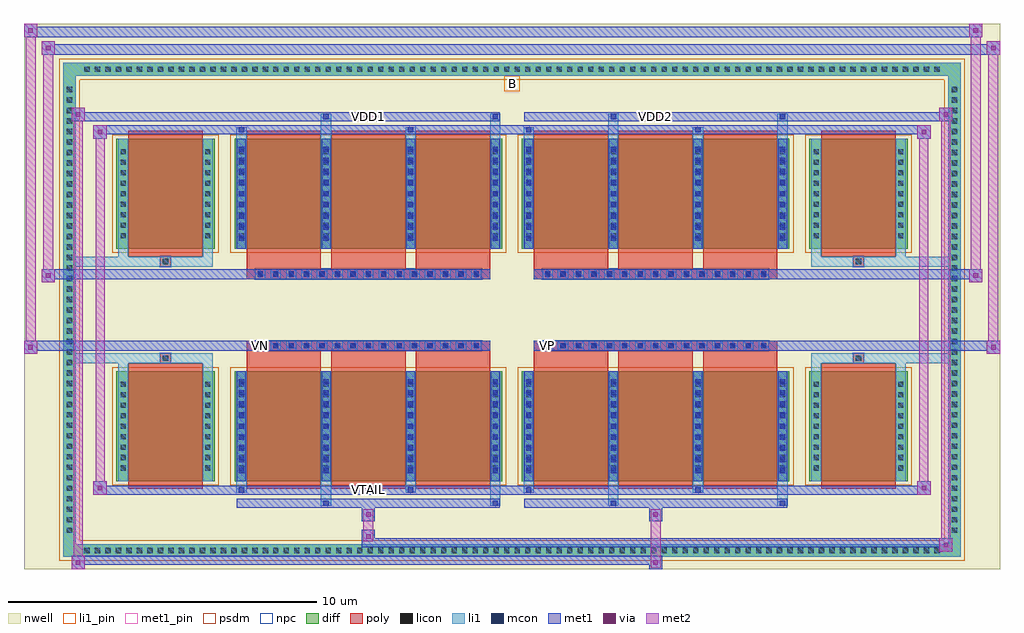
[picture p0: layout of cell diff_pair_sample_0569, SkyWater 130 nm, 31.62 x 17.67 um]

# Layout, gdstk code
import gdstk
lib = gdstk.Library(unit=1e-6, precision=5e-09)
def R(c, l, rs):  # rectangles x0, y0, x1, y1
    for r in rs: c.add(gdstk.rectangle(r[:2], r[2:], *l))
def A(c, l, x, y, w, h, nx, ny, dx, dy):  # array of equal rectangles
    R(c, l, [(x+i*dx, y+j*dy, x+i*dx+w, y+j*dy+h) for i in range(nx) for j in range(ny)])
def P(c, l, *ps):  # polygons
    for p in ps: c.add(gdstk.Polygon(p, *l))
nwell = (64, 20)
diff = (65, 20)
poly = (66, 20)
licon = (66, 44)
li1_pin = (67, 16)
li1 = (67, 20)
mcon = (67, 44)
met1_pin = (68, 16)
met1 = (68, 20)
via = (68, 44)
met2 = (69, 20)
psdm = (94, 20)
npc = (95, 20)

diff_pair_sample_0569 = lib.new_cell('diff_pair_sample_0569')
R(diff_pair_sample_0569, nwell, [(-15.81,-8.4,15.81,9.27), (-13.13,-6.59,-0.01,-0.795), (0.01,-6.59,13.13,-0.795), (-13.13,0.795,-0.01,6.59), (0.01,0.795,13.13,6.59)])
A(diff_pair_sample_0569, diff, -13.975, -8, 0.41, 0.41, 82, 2, 0.34, 15.59)
A(diff_pair_sample_0569, diff, -14.54, -7.345, 0.41, 0.41, 1, 43, 0, 0.34)
A(diff_pair_sample_0569, diff, 14.13, -7.345, 0.41, 0.41, 1, 43, 0, 0.34)
R(diff_pair_sample_0569, diff, [(-13.975,-8,13.975,-7.59), (-14.54,-7.345,-14.13,7.345), (14.13,-7.345,14.54,7.345), (-12.82,-5.545,-9.63,-1.985), (-8.99,-5.545,-0.32,-1.985), (0.32,-5.545,8.99,-1.985), (9.63,-5.545,12.82,-1.985), (-12.82,1.985,-9.63,5.545), (-8.99,1.985,-0.32,5.545), (0.32,1.985,8.99,5.545), (9.63,1.985,12.82,5.545), (-13.975,7.59,13.975,8)])
P(diff_pair_sample_0569, diff, [(14.54,8),(-14.54,8),(-14.54,-7.59),(-14.13,-7.59),(-14.13,7.59),(14.13,7.59),(14.13,-7.59),(-14.13,-7.59),(-14.54,-7.59),(-14.54,-8),(14.54,-8)])
A(diff_pair_sample_0569, poly, -8.6, -5.8, 2.41, 4.07, 3, 2, 2.74, 7.53)
A(diff_pair_sample_0569, poly, 0.71, -5.8, 2.41, 4.07, 3, 2, 2.74, 7.53)
A(diff_pair_sample_0569, poly, -8.6, -1.73, 2.41, 0.405, 3, 2, 2.74, 3.055)
A(diff_pair_sample_0569, poly, 0.71, -1.73, 2.41, 0.405, 3, 2, 2.74, 3.055)
A(diff_pair_sample_0569, poly, -8.32, -1.325, 0.33, 0.33, 15, 2, 0.5, 2.32)
A(diff_pair_sample_0569, poly, 0.99, -1.325, 0.33, 0.33, 15, 2, 0.5, 2.32)
R(diff_pair_sample_0569, poly, [(-12.43,-5.8,-10.02,-1.73), (10.02,-5.8,12.43,-1.73), (-11.39,-1.73,-11.06,-1.4), (-11.39,-1.73,-11.06,-1.4), (11.06,-1.73,11.39,-1.4), (11.06,-1.73,11.39,-1.4), (-8.6,-1.325,-0.71,-0.995), (0.71,-1.325,8.6,-0.995), (-8.6,0.995,-0.71,1.325), (0.71,0.995,8.6,1.325), (-11.39,1.4,-11.06,1.73), (-11.39,1.4,-11.06,1.73), (11.06,1.4,11.39,1.73), (11.06,1.4,11.39,1.73), (-12.43,1.73,-10.02,5.8), (10.02,1.73,12.43,5.8)])
A(diff_pair_sample_0569, licon, -13.855, -7.88, 0.17, 0.17, 82, 2, 0.34, 15.59)
A(diff_pair_sample_0569, licon, -14.42, -7.225, 0.17, 0.17, 1, 43, 0, 0.34)
A(diff_pair_sample_0569, licon, 14.25, -7.225, 0.17, 0.17, 1, 43, 0, 0.34)
A(diff_pair_sample_0569, licon, -12.68, -5.21, 0.17, 0.17, 1, 9, 0, 0.34)
A(diff_pair_sample_0569, licon, -9.94, -5.21, 0.17, 0.17, 1, 9, 0, 0.34)
A(diff_pair_sample_0569, licon, -8.85, -5.21, 0.17, 0.17, 4, 9, 2.74, 0.34)
A(diff_pair_sample_0569, licon, 0.46, -5.21, 0.17, 0.17, 4, 9, 2.74, 0.34)
A(diff_pair_sample_0569, licon, 9.77, -5.21, 0.17, 0.17, 1, 9, 0, 0.34)
A(diff_pair_sample_0569, licon, 12.51, -5.21, 0.17, 0.17, 1, 9, 0, 0.34)
A(diff_pair_sample_0569, licon, -8.24, -1.245, 0.17, 0.17, 15, 2, 0.5, 2.32)
A(diff_pair_sample_0569, licon, 1.07, -1.245, 0.17, 0.17, 15, 2, 0.5, 2.32)
A(diff_pair_sample_0569, licon, -12.68, 2.32, 0.17, 0.17, 1, 9, 0, 0.34)
A(diff_pair_sample_0569, licon, -9.94, 2.32, 0.17, 0.17, 1, 9, 0, 0.34)
A(diff_pair_sample_0569, licon, -8.85, 2.32, 0.17, 0.17, 4, 9, 2.74, 0.34)
A(diff_pair_sample_0569, licon, 0.46, 2.32, 0.17, 0.17, 4, 9, 2.74, 0.34)
A(diff_pair_sample_0569, licon, 9.77, 2.32, 0.17, 0.17, 1, 9, 0, 0.34)
A(diff_pair_sample_0569, licon, 12.51, 2.32, 0.17, 0.17, 1, 9, 0, 0.34)
R(diff_pair_sample_0569, licon, [(-11.31,-1.65,-11.14,-1.48), (11.14,-1.65,11.31,-1.48), (-11.31,1.48,-11.14,1.65), (11.14,1.48,11.31,1.65)])
R(diff_pair_sample_0569, li1_pin, [(-0.25,7.09,0.25,7.59)])
A(diff_pair_sample_0569, li1, -13.935, -7.96, 0.33, 0.33, 82, 2, 0.34, 15.59)
A(diff_pair_sample_0569, li1, -14.5, -7.305, 0.33, 0.33, 1, 43, 0, 0.34)
A(diff_pair_sample_0569, li1, 14.17, -7.305, 0.33, 0.33, 1, 43, 0, 0.34)
A(diff_pair_sample_0569, li1, -8.93, -5.545, 0.33, 3.56, 4, 2, 2.74, 7.53)
A(diff_pair_sample_0569, li1, 0.38, -5.545, 0.33, 3.56, 4, 2, 2.74, 7.53)
A(diff_pair_sample_0569, li1, -12.76, -5.29, 0.33, 0.33, 1, 9, 0, 0.34)
A(diff_pair_sample_0569, li1, -10.02, -5.29, 0.33, 0.33, 1, 9, 0, 0.34)
A(diff_pair_sample_0569, li1, -8.93, -5.29, 0.33, 0.33, 4, 9, 2.74, 0.34)
A(diff_pair_sample_0569, li1, -8.85, -5.29, 0.17, 0.17, 4, 9, 2.74, 0.36)
A(diff_pair_sample_0569, li1, -8.85, -5.29, 0.17, 3.05, 4, 2, 2.74, 7.53)
A(diff_pair_sample_0569, li1, 0.38, -5.29, 0.33, 0.33, 4, 9, 2.74, 0.34)
A(diff_pair_sample_0569, li1, 0.46, -5.29, 0.17, 0.17, 4, 9, 2.74, 0.36)
A(diff_pair_sample_0569, li1, 0.46, -5.29, 0.17, 3.05, 4, 2, 2.74, 7.53)
A(diff_pair_sample_0569, li1, 9.69, -5.29, 0.33, 0.33, 1, 9, 0, 0.34)
A(diff_pair_sample_0569, li1, 12.43, -5.29, 0.33, 0.33, 1, 9, 0, 0.34)
A(diff_pair_sample_0569, li1, -8.32, -1.325, 0.33, 0.33, 15, 2, 0.5, 2.32)
A(diff_pair_sample_0569, li1, 0.99, -1.325, 0.33, 0.33, 15, 2, 0.5, 2.32)
A(diff_pair_sample_0569, li1, -12.76, 2.24, 0.33, 0.33, 1, 9, 0, 0.34)
A(diff_pair_sample_0569, li1, -10.02, 2.24, 0.33, 0.33, 1, 9, 0, 0.34)
A(diff_pair_sample_0569, li1, -8.93, 2.24, 0.33, 0.33, 4, 9, 2.74, 0.34)
A(diff_pair_sample_0569, li1, -8.85, 2.24, 0.17, 0.17, 4, 9, 2.74, 0.36)
A(diff_pair_sample_0569, li1, 0.38, 2.24, 0.33, 0.33, 4, 9, 2.74, 0.34)
A(diff_pair_sample_0569, li1, 0.46, 2.24, 0.17, 0.17, 4, 9, 2.74, 0.36)
A(diff_pair_sample_0569, li1, 9.69, 2.24, 0.33, 0.33, 1, 9, 0, 0.34)
A(diff_pair_sample_0569, li1, 12.43, 2.24, 0.33, 0.33, 1, 9, 0, 0.34)
R(diff_pair_sample_0569, li1, [(-14.54,-8,-14.13,-7.59), (-14.54,-8,-14.13,-7.59), (-14.13,-8,14.13,-7.59), (14.13,-8,14.54,-7.59), (14.13,-8,14.54,-7.59), (-14.54,-7.59,-14.13,7.59), (14.13,-7.59,14.54,7.59), (-6.19,-6.35,-5.86,-5.545), (-6.11,-6.35,-5.94,-6.18), (-0.71,-6.35,-0.38,-5.545), (-0.63,-6.35,-0.46,-6.18), (3.12,-6.35,3.45,-5.545), (3.2,-6.35,3.37,-6.18), (8.6,-6.35,8.93,-5.545), (8.68,-6.35,8.85,-6.18), (-8.93,-5.92,-8.6,-5.545), (-8.85,-5.92,-8.68,-5.75), (-3.45,-5.92,-3.12,-5.545), (-3.37,-5.92,-3.2,-5.75), (0.38,-5.92,0.71,-5.545), (0.46,-5.92,0.63,-5.75), (5.86,-5.92,6.19,-5.545), (5.94,-5.92,6.11,-5.75), (-12.76,-5.545,-12.43,-1.985), (-10.02,-5.545,-9.69,-1.985), (9.69,-5.545,10.02,-1.985), (12.43,-5.545,12.76,-1.985), (-12.76,-1.985,-12.43,-1.4), (-10.02,-1.985,-9.69,-1.4), (9.69,-1.985,10.02,-1.4), (12.43,-1.985,12.76,-1.4), (-14.54,-1.73,-11.39,-1.4), (-12.76,-1.73,-11.39,-1.4), (-11.39,-1.73,-11.06,-1.4), (-11.06,-1.73,-9.69,-1.4), (9.69,-1.73,11.06,-1.4), (11.06,-1.73,11.39,-1.4), (11.06,-1.73,14.54,-1.4), (11.39,-1.73,12.76,-1.4), (-14.54,1.4,-11.39,1.73), (-12.76,1.4,-11.39,1.73), (-12.76,1.4,-12.43,1.985), (-11.39,1.4,-11.06,1.73), (-11.06,1.4,-9.69,1.73), (-10.02,1.4,-9.69,1.985), (9.69,1.4,11.06,1.73), (9.69,1.4,10.02,1.985), (11.06,1.4,11.39,1.73), (11.06,1.4,14.54,1.73), (11.39,1.4,12.76,1.73), (12.43,1.4,12.76,1.985), (-12.76,1.985,-12.43,5.545), (-10.02,1.985,-9.69,5.545), (9.69,1.985,10.02,5.545), (12.43,1.985,12.76,5.545), (-8.93,5.545,-8.6,5.92), (-6.19,5.545,-5.86,6.35), (-3.45,5.545,-3.12,5.92), (-0.71,5.545,-0.38,6.35), (0.38,5.545,0.71,5.92), (3.12,5.545,3.45,6.35), (5.86,5.545,6.19,5.92), (8.6,5.545,8.93,6.35), (-8.85,5.75,-8.68,5.92), (-3.37,5.75,-3.2,5.92), (0.46,5.75,0.63,5.92), (5.94,5.75,6.11,5.92), (-6.11,6.18,-5.94,6.35), (-0.63,6.18,-0.46,6.35), (3.2,6.18,3.37,6.35), (8.68,6.18,8.85,6.35), (-14.54,7.59,-14.13,8), (-14.54,7.59,-14.13,8), (-14.13,7.59,14.13,8), (14.13,7.59,14.54,8), (14.13,7.59,14.54,8)])
A(diff_pair_sample_0569, mcon, -8.85, -5.29, 0.17, 0.17, 4, 9, 2.74, 0.36)
A(diff_pair_sample_0569, mcon, 0.46, -5.29, 0.17, 0.17, 4, 9, 2.74, 0.36)
A(diff_pair_sample_0569, mcon, -8.24, -1.245, 0.17, 0.17, 15, 2, 0.5, 2.32)
A(diff_pair_sample_0569, mcon, 1.07, -1.245, 0.17, 0.17, 15, 2, 0.5, 2.32)
A(diff_pair_sample_0569, mcon, -8.85, 2.24, 0.17, 0.17, 4, 9, 2.74, 0.36)
A(diff_pair_sample_0569, mcon, 0.46, 2.24, 0.17, 0.17, 4, 9, 2.74, 0.36)
R(diff_pair_sample_0569, mcon, [(-6.11,-6.35,-5.94,-6.18), (-0.63,-6.35,-0.46,-6.18), (3.2,-6.35,3.37,-6.18), (8.68,-6.35,8.85,-6.18), (-8.85,-5.92,-8.68,-5.75), (-3.37,-5.92,-3.2,-5.75), (0.46,-5.92,0.63,-5.75), (5.94,-5.92,6.11,-5.75), (-8.85,5.75,-8.68,5.92), (-3.37,5.75,-3.2,5.92), (0.46,5.75,0.63,5.92), (5.94,5.75,6.11,5.92), (-6.11,6.18,-5.94,6.35), (-0.63,6.18,-0.46,6.35), (3.2,6.18,3.37,6.35), (8.68,6.18,8.85,6.35)])
R(diff_pair_sample_0569, met1_pin, [(-4.79,-5.96,-4.52,-5.69), (-8.29,-1.285,-8.02,-1.015), (1.02,-1.285,1.29,-1.015), (-4.79,6.14,-4.52,6.41), (4.52,6.14,4.79,6.41)])
A(diff_pair_sample_0569, met1, -8.91, -5.545, 0.29, 3.56, 4, 2, 2.74, 7.53)
A(diff_pair_sample_0569, met1, 0.4, -5.545, 0.29, 3.56, 4, 2, 2.74, 7.53)
A(diff_pair_sample_0569, met1, -8.91, -5.35, 0.29, 0.29, 4, 9, 2.74, 0.36)
A(diff_pair_sample_0569, met1, 0.4, -5.35, 0.29, 0.29, 4, 9, 2.74, 0.36)
A(diff_pair_sample_0569, met1, -8.3, -1.305, 0.29, 0.29, 15, 2, 0.5, 2.32)
A(diff_pair_sample_0569, met1, 1.01, -1.305, 0.29, 0.29, 15, 2, 0.5, 2.32)
A(diff_pair_sample_0569, met1, -8.91, 2.18, 0.29, 0.29, 4, 9, 2.74, 0.36)
A(diff_pair_sample_0569, met1, 0.4, 2.18, 0.29, 0.29, 4, 9, 2.74, 0.36)
R(diff_pair_sample_0569, met1, [(-14.27,-8.4,-13.84,-7.97), (4.44,-8.4,4.87,-7.97), (-14.27,-8.26,4.87,-7.97), (13.84,-7.83,14.27,-7.4), (-4.87,-7.69,14.27,-7.4), (-4.87,-7.55,-4.44,-7.12), (-4.87,-6.84,-4.44,-6.41), (4.44,-6.84,4.87,-6.41), (-8.91,-6.41,-0.4,-6.12), (-6.17,-6.41,-5.88,-6.12), (-0.69,-6.41,-0.4,-6.12), (0.4,-6.41,8.91,-6.12), (3.14,-6.41,3.43,-6.12), (8.62,-6.41,8.91,-6.12), (-13.56,-5.98,-13.13,-5.55), (-13.56,-5.98,-8.91,-5.69), (-8.91,-5.98,-8.62,-5.69), (-8.91,-5.98,-0.4,-5.69), (-3.43,-5.98,-3.14,-5.69), (-0.4,-5.98,0.4,-5.69), (0.4,-5.98,0.69,-5.69), (0.4,-5.98,8.91,-5.69), (5.88,-5.98,6.17,-5.69), (8.91,-5.98,13.56,-5.69), (13.13,-5.98,13.56,-5.55), (-15.81,-1.425,-15.38,-0.995), (15.38,-1.425,15.81,-0.995), (-15.81,-1.325,-0.71,-0.995), (-8.6,-1.325,-0.71,-0.995), (0.71,-1.325,8.6,-0.995), (0.71,-1.325,15.81,-0.995), (-15.24,0.895,-14.81,1.325), (14.81,0.895,15.24,1.325), (-15.24,0.995,-8.6,1.325), (-8.6,0.995,-0.71,1.325), (0.71,0.995,8.6,1.325), (8.6,0.995,15.24,1.325), (-13.56,5.55,-13.13,5.98), (13.13,5.55,13.56,5.98), (-13.56,5.69,-8.91,5.98), (-8.91,5.69,-8.62,5.98), (-8.91,5.69,-0.4,5.98), (-3.43,5.69,-3.14,5.98), (-0.4,5.69,0.4,5.98), (0.4,5.69,0.69,5.98), (0.4,5.69,8.91,5.98), (5.88,5.69,6.17,5.98), (8.91,5.69,13.56,5.98), (-14.27,6.12,-13.84,6.55), (-14.27,6.12,-8.91,6.41), (-8.91,6.12,-0.4,6.41), (-6.17,6.12,-5.88,6.41), (-0.69,6.12,-0.4,6.41), (0.4,6.12,8.91,6.41), (3.14,6.12,3.43,6.41), (8.62,6.12,8.91,6.41), (8.91,6.12,14.27,6.41), (13.84,6.12,14.27,6.55), (-15.24,8.27,-14.81,8.7), (-15.24,8.27,-13.13,8.6), (-13.13,8.27,13.13,8.6), (13.13,8.27,15.81,8.6), (15.38,8.27,15.81,8.7), (-15.81,8.84,-15.38,9.27), (-15.81,8.84,-13.13,9.17), (-13.13,8.84,13.13,9.17), (13.13,8.84,15.24,9.17), (14.81,8.84,15.24,9.27)])
R(diff_pair_sample_0569, via, [(-14.13,-8.26,-13.98,-8.11), (4.58,-8.26,4.73,-8.11), (13.98,-7.69,14.13,-7.54), (-4.73,-7.41,-4.58,-7.26), (-4.73,-6.7,-4.58,-6.55), (4.58,-6.7,4.73,-6.55), (-13.42,-5.84,-13.27,-5.69), (13.27,-5.84,13.42,-5.69), (-15.67,-1.285,-15.52,-1.135), (15.52,-1.285,15.67,-1.135), (-15.1,1.035,-14.95,1.185), (14.95,1.035,15.1,1.185), (-13.42,5.69,-13.27,5.84), (13.27,5.69,13.42,5.84), (-14.13,6.26,-13.98,6.41), (13.98,6.26,14.13,6.41), (-15.1,8.41,-14.95,8.56), (15.52,8.41,15.67,8.56), (-15.67,8.98,-15.52,9.13), (14.95,8.98,15.1,9.13)])
R(diff_pair_sample_0569, met2, [(-14.27,-8.4,-13.84,-7.97), (-14.2,-8.4,-13.91,6.55), (-13.91,-8.4,-13.84,-7.97), (-14.22,-8.35,-13.89,-8.02), (4.49,-8.35,4.82,-8.02), (4.49,-8.02,4.82,-6.79), (13.84,-7.83,14.27,-7.4), (13.91,-7.83,14.2,6.55), (14.2,-7.83,14.27,-7.4), (13.89,-7.78,14.22,-7.45), (-4.82,-7.5,-4.49,-7.17), (-4.82,-7.17,-4.49,-6.79), (-4.82,-6.79,-4.49,-6.46), (4.49,-6.79,4.82,-6.46), (-13.56,-5.98,-13.13,-5.55), (-13.49,-5.98,-13.2,5.98), (-13.2,-5.98,-13.13,-5.55), (13.13,-5.98,13.56,-5.55), (13.2,-5.98,13.49,5.98), (13.49,-5.98,13.56,-5.55), (-13.51,-5.93,-13.18,-5.6), (13.18,-5.93,13.51,-5.6), (-15.81,-1.425,-15.38,-0.995), (-15.76,-1.425,-15.43,9.27), (-15.43,-1.425,-15.38,-0.995), (15.38,-1.425,15.81,-0.995), (15.43,-1.425,15.76,8.7), (15.76,-1.425,15.81,-0.995), (-15.76,-1.375,-15.43,-1.045), (15.43,-1.375,15.76,-1.045), (-15.24,0.895,-14.81,1.325), (-15.19,0.895,-14.86,8.7), (-14.86,0.895,-14.81,1.325), (14.81,0.895,15.24,1.325), (14.86,0.895,15.19,9.27), (15.19,0.895,15.24,1.325), (-15.19,0.945,-14.86,1.275), (14.86,0.945,15.19,1.275), (-13.56,5.55,-13.13,5.98), (-13.2,5.55,-13.13,5.98), (13.13,5.55,13.56,5.98), (13.49,5.55,13.56,5.98), (-13.51,5.6,-13.18,5.93), (13.18,5.6,13.51,5.93), (-14.27,6.12,-13.84,6.55), (-13.91,6.12,-13.84,6.55), (13.84,6.12,14.27,6.55), (14.2,6.12,14.27,6.55), (-14.22,6.17,-13.89,6.5), (13.89,6.17,14.22,6.5), (-15.24,8.27,-14.81,8.7), (-14.86,8.27,-14.81,8.7), (15.38,8.27,15.81,8.7), (15.76,8.27,15.81,8.7), (-15.19,8.32,-14.86,8.65), (15.43,8.32,15.76,8.65), (-15.81,8.84,-15.38,9.27), (-15.43,8.84,-15.38,9.27), (14.81,8.84,15.24,9.27), (15.19,8.84,15.24,9.27), (-15.76,8.89,-15.43,9.22), (14.86,8.89,15.19,9.22)])
R(diff_pair_sample_0569, psdm, [(-12.95,-5.675,-9.5,-1.855), (-9.12,-5.675,-0.19,-1.855), (0.19,-5.675,9.12,-1.855), (9.5,-5.675,12.95,-1.855), (-12.95,1.855,-9.5,5.675), (-9.12,1.855,-0.19,5.675), (0.19,1.855,9.12,5.675), (9.5,1.855,12.95,5.675)])
P(diff_pair_sample_0569, psdm, [(14.67,8.13),(-14.67,8.13),(-14.67,-7.46),(-14,-7.46),(-14,7.46),(14,7.46),(14,-7.46),(-14,-7.46),(-14.67,-7.46),(-14.67,-8.13),(14.67,-8.13)])
A(diff_pair_sample_0569, npc, -8.34, -1.345, 0.37, 0.37, 15, 2, 0.5, 2.32)
A(diff_pair_sample_0569, npc, 0.97, -1.345, 0.37, 0.37, 15, 2, 0.5, 2.32)
R(diff_pair_sample_0569, npc, [(-11.41,-1.75,-11.04,-1.38), (11.04,-1.75,11.41,-1.38), (-8.34,-1.345,-7.47,-0.975), (-8.34,-1.345,-7.47,-0.975), (-7.84,-1.345,-6.97,-0.975), (-7.84,-1.345,-6.97,-0.975), (-7.34,-1.345,-6.47,-0.975), (-7.34,-1.345,-6.47,-0.975), (-6.84,-1.345,-5.97,-0.975), (-6.84,-1.345,-5.97,-0.975), (-6.34,-1.345,-5.47,-0.975), (-6.34,-1.345,-5.47,-0.975), (-5.84,-1.345,-4.97,-0.975), (-5.84,-1.345,-4.97,-0.975), (-5.34,-1.345,-4.47,-0.975), (-5.34,-1.345,-4.47,-0.975), (-4.84,-1.345,-3.97,-0.975), (-4.84,-1.345,-3.97,-0.975), (-4.34,-1.345,-3.47,-0.975), (-4.34,-1.345,-3.47,-0.975), (-3.84,-1.345,-2.97,-0.975), (-3.84,-1.345,-2.97,-0.975), (-3.34,-1.345,-2.47,-0.975), (-3.34,-1.345,-2.47,-0.975), (-2.84,-1.345,-1.97,-0.975), (-2.84,-1.345,-1.97,-0.975), (-2.34,-1.345,-1.47,-0.975), (-2.34,-1.345,-1.47,-0.975), (-1.84,-1.345,-0.97,-0.975), (-1.84,-1.345,-0.97,-0.975), (0.97,-1.345,1.84,-0.975), (0.97,-1.345,1.84,-0.975), (1.47,-1.345,2.34,-0.975), (1.47,-1.345,2.34,-0.975), (1.97,-1.345,2.84,-0.975), (1.97,-1.345,2.84,-0.975), (2.47,-1.345,3.34,-0.975), (2.47,-1.345,3.34,-0.975), (2.97,-1.345,3.84,-0.975), (2.97,-1.345,3.84,-0.975), (3.47,-1.345,4.34,-0.975), (3.47,-1.345,4.34,-0.975), (3.97,-1.345,4.84,-0.975), (3.97,-1.345,4.84,-0.975), (4.47,-1.345,5.34,-0.975), (4.47,-1.345,5.34,-0.975), (4.97,-1.345,5.84,-0.975), (4.97,-1.345,5.84,-0.975), (5.47,-1.345,6.34,-0.975), (5.47,-1.345,6.34,-0.975), (5.97,-1.345,6.84,-0.975), (5.97,-1.345,6.84,-0.975), (6.47,-1.345,7.34,-0.975), (6.47,-1.345,7.34,-0.975), (6.97,-1.345,7.84,-0.975), (6.97,-1.345,7.84,-0.975), (7.47,-1.345,8.34,-0.975), (7.47,-1.345,8.34,-0.975), (-8.34,0.975,-7.47,1.345), (-8.34,0.975,-7.47,1.345), (-7.84,0.975,-6.97,1.345), (-7.84,0.975,-6.97,1.345), (-7.34,0.975,-6.47,1.345), (-7.34,0.975,-6.47,1.345), (-6.84,0.975,-5.97,1.345), (-6.84,0.975,-5.97,1.345), (-6.34,0.975,-5.47,1.345), (-6.34,0.975,-5.47,1.345), (-5.84,0.975,-4.97,1.345), (-5.84,0.975,-4.97,1.345), (-5.34,0.975,-4.47,1.345), (-5.34,0.975,-4.47,1.345), (-4.84,0.975,-3.97,1.345), (-4.84,0.975,-3.97,1.345), (-4.34,0.975,-3.47,1.345), (-4.34,0.975,-3.47,1.345), (-3.84,0.975,-2.97,1.345), (-3.84,0.975,-2.97,1.345), (-3.34,0.975,-2.47,1.345), (-3.34,0.975,-2.47,1.345), (-2.84,0.975,-1.97,1.345), (-2.84,0.975,-1.97,1.345), (-2.34,0.975,-1.47,1.345), (-2.34,0.975,-1.47,1.345), (-1.84,0.975,-0.97,1.345), (-1.84,0.975,-0.97,1.345), (0.97,0.975,1.84,1.345), (0.97,0.975,1.84,1.345), (1.47,0.975,2.34,1.345), (1.47,0.975,2.34,1.345), (1.97,0.975,2.84,1.345), (1.97,0.975,2.84,1.345), (2.47,0.975,3.34,1.345), (2.47,0.975,3.34,1.345), (2.97,0.975,3.84,1.345), (2.97,0.975,3.84,1.345), (3.47,0.975,4.34,1.345), (3.47,0.975,4.34,1.345), (3.97,0.975,4.84,1.345), (3.97,0.975,4.84,1.345), (4.47,0.975,5.34,1.345), (4.47,0.975,5.34,1.345), (4.97,0.975,5.84,1.345), (4.97,0.975,5.84,1.345), (5.47,0.975,6.34,1.345), (5.47,0.975,6.34,1.345), (5.97,0.975,6.84,1.345), (5.97,0.975,6.84,1.345), (6.47,0.975,7.34,1.345), (6.47,0.975,7.34,1.345), (6.97,0.975,7.84,1.345), (6.97,0.975,7.84,1.345), (7.47,0.975,8.34,1.345), (7.47,0.975,8.34,1.345), (-11.41,1.38,-11.04,1.75), (11.04,1.38,11.41,1.75)])
diff_pair_sample_0569.add(gdstk.Label('VTAIL', (-4.655,-5.825), layer=68, texttype=5))
diff_pair_sample_0569.add(gdstk.Label('VN', (-8.155,-1.15), layer=68, texttype=5))
diff_pair_sample_0569.add(gdstk.Label('VP', (1.155,-1.15), layer=68, texttype=5))
diff_pair_sample_0569.add(gdstk.Label('B', (0,7.34), layer=67, texttype=5))
diff_pair_sample_0569.add(gdstk.Label('VDD2', (4.655,6.275), layer=68, texttype=5))
diff_pair_sample_0569.add(gdstk.Label('VDD1', (-4.655,6.275), layer=68, texttype=5))

lib.write_gds('diff_pair_sample_0569.gds')
